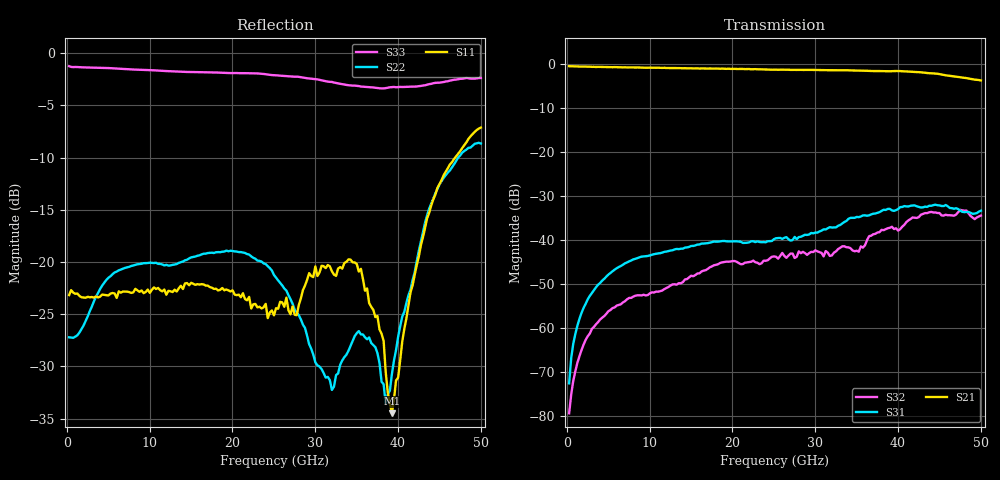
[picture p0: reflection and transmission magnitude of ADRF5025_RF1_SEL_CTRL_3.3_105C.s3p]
! Device:  ADRF5025
! Description: Silicon SPDT Switch, Reflective
! Frequency:  9kHz -  44.00 GHz
! Ports:
!  RFC = Port 1
!  RF1 = Port 2
!  RF2 = Port 3
! VDD  =  +3.30 Volts
! VSS  =  -3.30 Volts
! CTRL  =  +3.30 Volts
! Data:  Data was collected using an calibrated 4 port network analyzer
!  using G-S-G Probes on Probe Matrix Board.
!  The reference plane is the package pins of ADRF5025 switch.
! Notes: Analog Devices supplies this data as a sample of measured data
!  for this product.  Your particular data for this product may vary.
!  Data was taken at 105 degrees C.
!  Analog Devices reserves the right to change this data at anytime.
# GHz S  dB  R 50
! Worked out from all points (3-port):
!   200 points, 260 MHz to 50.01 GHz, reference 50 ohm
!   strongest paths, dB at 260 MHz, 12.76 GHz, 25.26 GHz, 37.76 GHz, 50.01 GHz:
!     S21: -0.6, -1.0, -1.4, -1.7, -3.8
!     S31: -72.6, -42.4, -39.6, -33.7, -33.4
!     S32: -79.4, -50.1, -43.8, -38.3, -34.5
!   lowest |S11| = -34.5 dB at 39.26 GHz (marker M1), VSWR 1.04, Z = 51.9 - j0.0581 ohm
!   |S11| at or under -10 dB: start of sweep to 46.9 GHz
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0.26  -23.17 -2.2  -0.57 -2.6  -71.78 60.8
      -0.58 -2.7  -27.22 -9.6  -76.99 38.6
      -72.57 61.7  -79.38 24.7  -1.23 177.9
2.76  -23.38 -50.1  -0.69 -25.8  -52.78 67.6
      -0.70 -25.7  -24.70 -82.4  -61.17 63.1
      -52.72 67.8  -61.26 65.0  -1.36 160.8
11.01  -22.48 -172.3  -0.94 -100.1  -43.12 12.7
       -0.94 -100.3  -20.18 -171.4  -51.80 10.5
       -43.08 12.5  -51.77 10.5  -1.66 100.7
18.76  -22.49 117.9  -1.13 -170.7  -40.25 -42.7
       -1.13 -170.7  -19.02 146.6  -45.08 -61.3
       -40.28 -42.8  -45.12 -61.2  -1.86 43.9
25.26  -24.43 110.0  -1.34 129.9  -39.60 -98.8
       -1.38 129.8  -21.50 90.4  -43.84 -156.1
       -39.64 -98.5  -43.84 -155.7  -2.11 2.7
32.01  -20.89 110.3  -1.52 67.5  -37.30 -162.6
       -1.49 67.5  -32.26 101.9  -43.53 127.0
       -37.22 -162.4  -43.54 127.8  -2.74 -44.1
35.01  -20.18 84.0  -1.60 39.5  -35.03 167.6
       -1.57 38.8  -26.82 92.4  -42.73 99.6
       -34.80 167.6  -42.48 101.3  -3.12 -68.6
39.26  -34.50 -1.7  -1.65 -2.5  -33.30 122.6
       -1.71 -2.5  -30.74 -11.2  -37.28 68.2
       -33.31 122.7  -37.03 67.7  -3.24 -108.6
43.51  -15.82 -137.8  -2.14 -47.4  -32.38 86.4
       -2.12 -47.6  -15.53 -134.8  -33.79 30.8
       -32.52 86.0  -33.94 29.9  -3.01 -142.8
50.01  -7.12 163.2  -3.87 -113.5  -33.40 40.4
       -3.82 -114.2  -8.65 143.3  -34.48 -30.1
       -33.38 40.1  -34.49 -29.0  -2.36 -179.6
